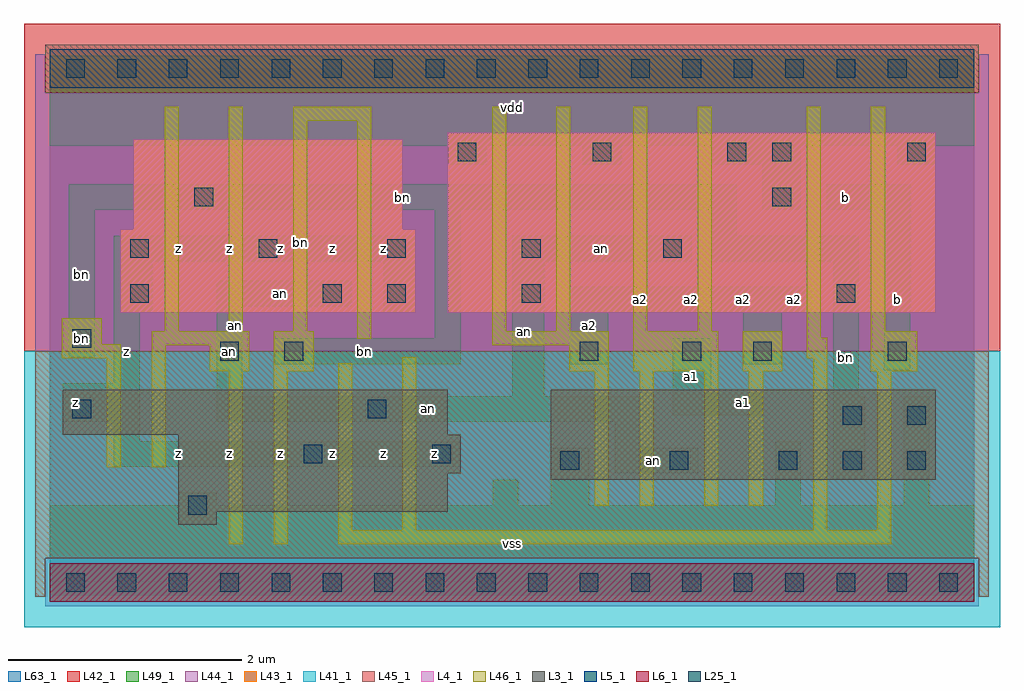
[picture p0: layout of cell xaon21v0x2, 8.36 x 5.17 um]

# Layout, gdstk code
import gdstk
lib = gdstk.Library(unit=1e-6, precision=1e-09)
def R(c, l, rs):  # rectangles x0, y0, x1, y1
    for r in rs: c.add(gdstk.rectangle(r[:2], r[2:], *l))
def A(c, l, x, y, w, h, nx, ny, dx, dy):  # array of equal rectangles
    R(c, l, [(x+i*dx, y+j*dy, x+i*dx+w, y+j*dy+h) for i in range(nx) for j in range(ny)])
L3_1 = (3, 1)
L4_1 = (4, 1)
L5_1 = (5, 1)
L6_1 = (6, 1)
L25_1 = (25, 1)
L41_1 = (41, 1)
L42_1 = (42, 1)
L43_1 = (43, 1)
L44_1 = (44, 1)
L45_1 = (45, 1)
L46_1 = (46, 1)
L49_1 = (49, 1)
L63_1 = (63, 1)

xaon21v0x2 = lib.new_cell('xaon21v0x2')
R(xaon21v0x2, L3_1, [(1.1,0.495,1.43,0.605), (1.1,0.605,3.41,0.935), (4.29,0.88,7.59,1.65), (1.1,0.935,3.52,1.265), (0.11,1.265,3.41,1.65)])
R(xaon21v0x2, L4_1, [(0.605,2.31,3.135,3.025), (3.41,2.31,7.59,3.85), (0.715,3.025,3.025,3.795)])
R(xaon21v0x2, L5_1, [(0,4.235,7.92,4.565)])
R(xaon21v0x2, L6_1, [(0,-0.165,7.92,0.165)])
A(xaon21v0x2, L25_1, 0.14, -0.08, 0.16, 0.16, 18, 2, 0.44, 4.4)
A(xaon21v0x2, L25_1, 4.375, 0.965, 0.16, 0.16, 3, 1, 0.935, 0)
A(xaon21v0x2, L25_1, 0.69, 2.78, 0.16, 0.16, 3, 1, 1.1, 0)
A(xaon21v0x2, L25_1, 3.495, 3.605, 0.16, 0.16, 3, 1, 1.155, 0)
R(xaon21v0x2, L25_1, [(1.185,0.58,1.345,0.74), (6.795,0.965,6.955,1.125), (7.345,0.965,7.505,1.125), (2.175,1.02,2.335,1.18), (3.275,1.02,3.435,1.18), (6.795,1.35,6.955,1.51), (7.345,1.35,7.505,1.51), (0.195,1.405,0.355,1.565), (2.725,1.405,2.885,1.565), (1.46,1.9,1.62,2.06), (2.01,1.9,2.17,2.06), (4.54,1.9,4.7,2.06), (5.42,1.9,5.58,2.06), (6.025,1.9,6.185,2.06), (7.18,1.9,7.34,2.06), (0.195,2.01,0.355,2.17), (0.69,2.395,0.85,2.555), (2.34,2.395,2.5,2.555), (2.89,2.395,3.05,2.555), (4.045,2.395,4.205,2.555), (6.74,2.395,6.9,2.555), (4.045,2.78,4.205,2.94), (5.255,2.78,5.415,2.94), (1.24,3.22,1.4,3.38), (6.19,3.22,6.35,3.38), (6.19,3.605,6.35,3.765), (7.345,3.605,7.505,3.765)])
R(xaon21v0x2, L41_1, [(-0.22,-0.385,8.14,1.98)])
R(xaon21v0x2, L42_1, [(-0.22,1.98,8.14,4.785)])
R(xaon21v0x2, L43_1, [(0,-0.165,7.92,0.165), (1.1,0.495,1.43,0.605), (1.1,0.605,3.41,0.935), (4.29,0.88,7.59,1.65), (1.1,0.935,3.52,1.265), (0.11,1.265,3.41,1.65), (0.605,2.31,3.135,3.025), (3.41,2.31,7.59,3.85), (0.715,3.025,3.025,3.795), (0,4.235,7.92,4.565)])
R(xaon21v0x2, L44_1, [(-0.04,-0.205,7.96,0.205), (-0.125,1.98,8.045,4.195), (-0.125,4.195,-0.04,4.525), (7.96,4.195,8.045,4.525)])
R(xaon21v0x2, L45_1, [(-0.125,-0.125,-0.04,0.205), (7.96,-0.125,8.045,0.205), (-0.125,0.205,8.045,1.98), (-0.04,4.195,7.96,4.605)])
R(xaon21v0x2, L46_1, [(1.535,0.325,1.655,1.81), (1.92,0.325,2.04,1.81), (2.47,0.325,7.21,0.445), (2.47,0.445,2.59,1.875), (3.02,0.445,3.14,1.93), (6.54,0.445,6.66,1.92), (7.09,0.445,7.21,1.81), (4.67,0.655,4.79,1.81), (5.055,0.655,5.175,1.81), (5.605,0.655,5.725,1.81), (5.99,0.655,6.11,1.81), (0.49,0.985,0.61,1.92), (0.875,0.985,0.995,2.03), (1.37,1.81,1.71,2.03), (1.92,1.81,2.26,2.15), (4.45,1.81,4.79,2.03), (5,1.81,5.725,2.15), (5.935,1.81,6.275,2.15), (7.035,1.81,7.43,2.15), (0.105,1.92,0.61,2.04), (6.485,1.92,6.66,2.095), (0.875,2.03,1.71,2.15), (3.79,2.03,4.79,2.15), (0.105,2.04,0.445,2.26), (2.635,2.085,2.755,3.955), (6.485,2.095,6.605,4.075), (0.985,2.15,1.105,4.075), (1.535,2.15,1.655,4.075), (2.085,2.15,2.205,3.955), (3.79,2.15,3.91,4.075), (4.34,2.15,4.46,4.075), (5,2.15,5.12,4.075), (5.55,2.15,5.67,4.075), (7.035,2.15,7.155,4.075), (2.085,3.955,2.755,4.075)])
R(xaon21v0x2, L49_1, [(0,-0.11,7.92,0.66), (1.1,0.66,1.43,0.77), (3.795,0.66,4.015,0.88), (4.29,0.66,4.62,1.155), (6.215,0.66,6.435,1.21), (7.315,0.66,7.535,1.595), (6.71,0.88,6.985,1.595), (4.84,0.935,5.555,1.155), (0.55,0.99,3.52,1.21), (4.84,1.155,5.06,1.375), (0.55,1.21,0.77,1.375), (0.11,1.375,0.77,1.705), (1.43,1.375,5.06,1.595), (5.335,1.43,6.105,1.65), (1.43,1.595,1.65,2.365), (3.96,1.595,4.235,2.75), (6.71,1.595,6.93,2.75), (5.335,1.65,5.665,2.09), (0.55,1.705,0.77,2.31), (7.15,1.815,7.37,3.19), (1.925,1.87,3.52,2.09), (4.455,1.87,4.785,2.31), (5.94,1.87,6.27,2.31), (0.165,1.925,0.385,3.19), (3.3,2.09,3.52,3.19), (0.55,2.31,0.88,2.75), (2.86,2.31,3.135,2.75), (4.455,2.31,6.545,2.53), (1.43,2.365,2.585,2.585), (0.55,2.75,3.135,2.97), (3.96,2.75,5.5,2.97), (5.665,2.75,6.93,2.97), (5.665,2.97,5.885,3.19), (0.165,3.19,5.885,3.41), (6.105,3.19,6.435,3.575), (6.655,3.19,7.37,3.41), (3.41,3.575,3.74,3.74), (4.565,3.575,4.895,3.74), (5.665,3.575,6.435,3.74), (7.26,3.575,7.59,3.74), (0,3.74,7.92,4.51)])
R(xaon21v0x2, L63_1, [(0,0,7.92,4.4)])
xaon21v0x2.add(gdstk.Label('bn', (0.275,2.09), layer=49, texttype=1))
xaon21v0x2.add(gdstk.Label('an', (1.595,2.2), layer=46, texttype=1))
xaon21v0x2.add(gdstk.Label('bn', (2.145,2.915), layer=46, texttype=1))
xaon21v0x2.add(gdstk.Label('z', (1.1,1.1), layer=49, texttype=1))
xaon21v0x2.add(gdstk.Label('z', (0.22,1.54), layer=49, texttype=1))
xaon21v0x2.add(gdstk.Label('z', (0.66,1.98), layer=49, texttype=1))
xaon21v0x2.add(gdstk.Label('z', (1.1,2.86), layer=49, texttype=1))
xaon21v0x2.add(gdstk.Label('bn', (0.275,2.64), layer=49, texttype=1))
xaon21v0x2.add(gdstk.Label('z', (1.54,1.1), layer=49, texttype=1))
xaon21v0x2.add(gdstk.Label('z', (1.98,1.1), layer=49, texttype=1))
xaon21v0x2.add(gdstk.Label('z', (2.42,1.1), layer=49, texttype=1))
xaon21v0x2.add(gdstk.Label('z', (2.86,1.1), layer=49, texttype=1))
xaon21v0x2.add(gdstk.Label('an', (1.54,1.98), layer=49, texttype=1))
xaon21v0x2.add(gdstk.Label('an', (1.98,2.475), layer=49, texttype=1))
xaon21v0x2.add(gdstk.Label('z', (1.98,2.86), layer=49, texttype=1))
xaon21v0x2.add(gdstk.Label('z', (2.42,2.86), layer=49, texttype=1))
xaon21v0x2.add(gdstk.Label('z', (2.86,2.86), layer=49, texttype=1))
xaon21v0x2.add(gdstk.Label('z', (1.54,2.86), layer=49, texttype=1))
xaon21v0x2.add(gdstk.Label('vss', (3.96,0.33), layer=49, texttype=1))
xaon21v0x2.add(gdstk.Label('z', (3.3,1.1), layer=49, texttype=1))
xaon21v0x2.add(gdstk.Label('bn', (2.695,1.98), layer=49, texttype=1))
xaon21v0x2.add(gdstk.Label('a2', (4.62,2.2), layer=49, texttype=1))
xaon21v0x2.add(gdstk.Label('an', (4.07,2.145), layer=49, texttype=1))
xaon21v0x2.add(gdstk.Label('vdd', (3.96,4.07), layer=49, texttype=1))
xaon21v0x2.add(gdstk.Label('an', (5.17,1.045), layer=49, texttype=1))
xaon21v0x2.add(gdstk.Label('an', (3.245,1.485), layer=49, texttype=1))
xaon21v0x2.add(gdstk.Label('a1', (5.94,1.54), layer=49, texttype=1))
xaon21v0x2.add(gdstk.Label('a1', (5.5,1.76), layer=49, texttype=1))
xaon21v0x2.add(gdstk.Label('a2', (5.5,2.42), layer=49, texttype=1))
xaon21v0x2.add(gdstk.Label('a2', (5.94,2.42), layer=49, texttype=1))
xaon21v0x2.add(gdstk.Label('a2', (5.06,2.42), layer=49, texttype=1))
xaon21v0x2.add(gdstk.Label('an', (4.73,2.86), layer=49, texttype=1))
xaon21v0x2.add(gdstk.Label('bn', (3.025,3.3), layer=49, texttype=1))
xaon21v0x2.add(gdstk.Label('a2', (6.38,2.42), layer=49, texttype=1))
xaon21v0x2.add(gdstk.Label('b', (7.26,2.42), layer=49, texttype=1))
xaon21v0x2.add(gdstk.Label('bn', (6.82,1.925), layer=49, texttype=1))
xaon21v0x2.add(gdstk.Label('b', (6.82,3.3), layer=49, texttype=1))

lib.write_gds('xaon21v0x2.gds')
